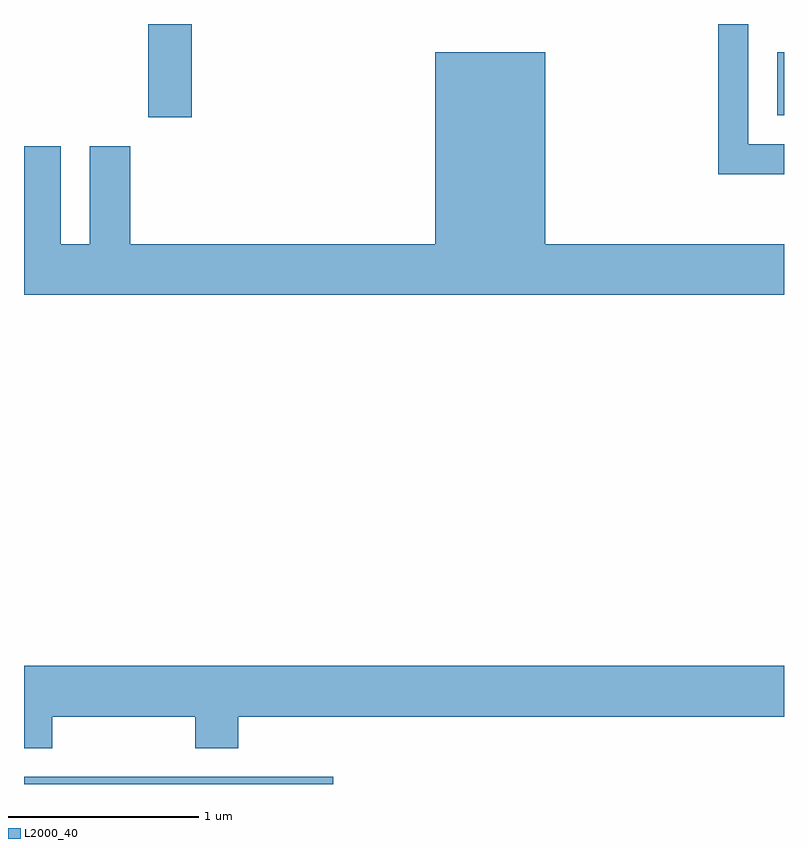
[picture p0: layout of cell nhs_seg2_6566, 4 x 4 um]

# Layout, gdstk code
import gdstk
lib = gdstk.Library(unit=1e-6, precision=1e-09)
def R(c, l, rs):  # rectangles x0, y0, x1, y1
    for r in rs: c.add(gdstk.rectangle(r[:2], r[2:], *l))
def P(c, l, *ps):  # polygons
    for p in ps: c.add(gdstk.Polygon(p, *l))
L2000_40 = (2000, 40)

nhs_seg2_6566 = lib.new_cell('nhs_seg2_6566')
R(nhs_seg2_6566, L2000_40, [(379.611,985.802,381.238,985.839), (380.266,989.311,380.494,989.802), (383.576,989.321,383.611,989.654)])
P(nhs_seg2_6566, L2000_40, [(383.611,989.169),(383.424,989.169),(383.424,989.802),(383.266,989.802),(383.266,989.011),(383.611,989.011)],
  [(383.611,988.644),(382.354,988.644),(382.354,989.654),(381.776,989.654),(381.776,988.644),(380.169,988.644),(380.169,989.159),(379.956,989.159),(379.956,988.644),(379.804,988.644),(379.804,989.159),(379.611,989.159),(379.611,988.376),(383.611,988.376)],
  [(379.759,986.156),(380.511,986.156),(380.511,985.991),(380.739,985.991),(380.739,986.156),(383.611,986.156),(383.611,986.424),(379.611,986.424),(379.611,985.991),(379.759,985.991)])

lib.write_gds('nhs_seg2_6566.gds')
